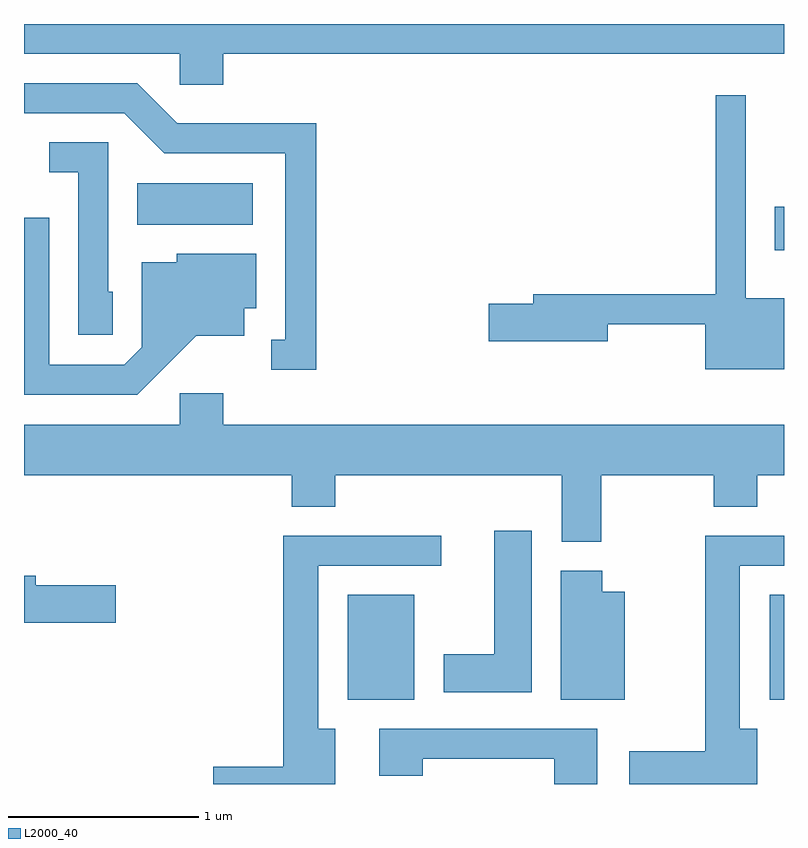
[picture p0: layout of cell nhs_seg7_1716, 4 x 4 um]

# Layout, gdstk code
import gdstk
lib = gdstk.Library(unit=1e-6, precision=1e-09)
def R(c, l, rs):  # rectangles x0, y0, x1, y1
    for r in rs: c.add(gdstk.rectangle(r[:2], r[2:], *l))
def P(c, l, *ps):  # polygons
    for p in ps: c.add(gdstk.Polygon(p, *l))
L2000_40 = (2000, 40)

nhs_seg7_1716 = lib.new_cell('nhs_seg7_1716')
R(nhs_seg7_1716, L2000_40, [(239.316,1708.696,239.664,1709.249), (241.536,1708.696,241.611,1709.249), (241.561,1711.061,241.611,1711.289), (238.206,1711.196,238.814,1711.414)])
P(nhs_seg7_1716, L2000_40, [(238.659,1712.096),(241.611,1712.096),(241.611,1712.252),(237.611,1712.252),(237.611,1712.096),(238.431,1712.096),(238.431,1711.931),(238.659,1711.931)],
  [(239.149,1711.729),(238.417,1711.729),(238.207,1711.939),(237.611,1711.939),(237.611,1711.781),(238.139,1711.781),(238.349,1711.571),(238.986,1711.571),(238.986,1710.589),(238.913,1710.589),(238.913,1710.431),(239.149,1710.431)],
  [(241.611,1710.809),(241.409,1710.809),(241.409,1711.878),(241.251,1711.878),(241.251,1710.829),(240.291,1710.829),(240.291,1710.779),(240.056,1710.779),(240.056,1710.581),(240.684,1710.581),(240.684,1710.671),(241.196,1710.671),(241.196,1710.436),(241.611,1710.436)],
  [(238.079,1710.844),(238.054,1710.844),(238.054,1711.629),(237.743,1711.629),(237.743,1711.471),(237.896,1711.471),(237.896,1710.616),(238.079,1710.616)],
  [(238.517,1710.611),(238.769,1710.611),(238.769,1710.756),(238.834,1710.756),(238.834,1711.044),(238.416,1711.044),(238.416,1710.999),(238.231,1710.999),(238.231,1710.552),(238.139,1710.459),(237.744,1710.459),(237.744,1711.233),(237.611,1711.233),(237.611,1710.301),(238.207,1710.301)],
  [(240.649,1709.876),(241.241,1709.876),(241.241,1709.711),(241.469,1709.711),(241.469,1709.876),(241.611,1709.876),(241.611,1710.144),(238.659,1710.144),(238.659,1710.309),(238.431,1710.309),(238.431,1710.144),(237.611,1710.144),(237.611,1709.876),(239.021,1709.876),(239.021,1709.711),(239.249,1709.711),(239.249,1709.876),(240.441,1709.876),(240.441,1709.526),(240.649,1709.526)],
  [(240.284,1709.584),(240.086,1709.584),(240.086,1708.934),(239.821,1708.934),(239.821,1708.736),(240.284,1708.736)],
  [(239.249,1708.544),(239.159,1708.544),(239.159,1709.401),(239.808,1709.401),(239.808,1709.559),(238.976,1709.559),(238.976,1708.344),(238.606,1708.344),(238.606,1708.252),(239.249,1708.252)],
  [(241.469,1708.544),(241.379,1708.544),(241.379,1709.401),(241.611,1709.401),(241.611,1709.559),(241.196,1709.559),(241.196,1708.424),(240.796,1708.424),(240.796,1708.252),(241.469,1708.252)],
  [(240.774,1709.264),(240.654,1709.264),(240.654,1709.374),(240.436,1709.374),(240.436,1708.696),(240.774,1708.696)],
  [(238.094,1709.299),(237.674,1709.299),(237.674,1709.349),(237.611,1709.349),(237.611,1709.101),(238.094,1709.101)],
  [(240.629,1708.544),(239.481,1708.544),(239.481,1708.296),(239.709,1708.296),(239.709,1708.386),(240.401,1708.386),(240.401,1708.252),(240.629,1708.252)])

lib.write_gds('nhs_seg7_1716.gds')
